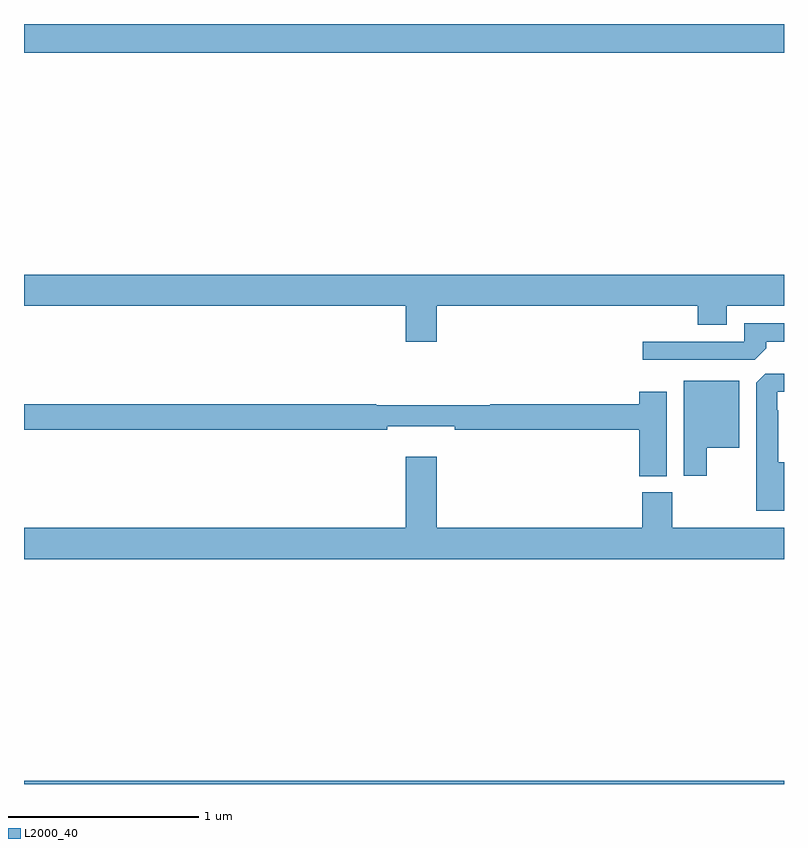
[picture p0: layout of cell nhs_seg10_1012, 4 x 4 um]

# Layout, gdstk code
import gdstk
lib = gdstk.Library(unit=1e-6, precision=1e-09)
def R(c, l, rs):  # rectangles x0, y0, x1, y1
    for r in rs: c.add(gdstk.rectangle(r[:2], r[2:], *l))
def P(c, l, *ps):  # polygons
    for p in ps: c.add(gdstk.Polygon(p, *l))
L2000_40 = (2000, 40)

nhs_seg10_1012 = lib.new_cell('nhs_seg10_1012')
R(nhs_seg10_1012, L2000_40, [(163,1264.5,167,1264.516), (163,1268.348,167,1268.5)])
P(nhs_seg10_1012, L2000_40, [(165.172,1267.016),(166.547,1267.016),(166.547,1266.917),(166.699,1266.917),(166.699,1267.016),(167,1267.016),(167,1267.18),(163,1267.18),(163,1267.016),(165.008,1267.016),(165.008,1266.828),(165.172,1266.828)],
  [(166.907,1266.794),(166.907,1266.828),(167,1266.828),(167,1266.924),(166.791,1266.924),(166.791,1266.828),(166.257,1266.828),(166.257,1266.732),(166.845,1266.732)],
  [(167,1266.193),(166.969,1266.193),(166.969,1266.467),(166.965,1266.467),(166.965,1266.564),(167,1266.564),(167,1266.66),(166.902,1266.66),(166.853,1266.611),(166.853,1265.939),(167,1265.939)],
  [(166.594,1266.269),(166.765,1266.269),(166.765,1266.622),(166.472,1266.622),(166.472,1266.123),(166.594,1266.123)],
  [(166.384,1266.565),(166.238,1266.565),(166.238,1266.5),(165.454,1266.5),(165.454,1266.493),(164.854,1266.493),(164.854,1266.5),(163,1266.5),(163,1266.364),(164.912,1266.364),(164.912,1266.383),(165.268,1266.383),(165.268,1266.364),(166.238,1266.364),(166.238,1266.121),(166.384,1266.121)],
  [(167,1265.848),(166.413,1265.848),(166.413,1266.036),(166.253,1266.036),(166.253,1265.848),(165.172,1265.848),(165.172,1266.223),(165.008,1266.223),(165.008,1265.848),(163,1265.848),(163,1265.684),(167,1265.684)])

lib.write_gds('nhs_seg10_1012.gds')
